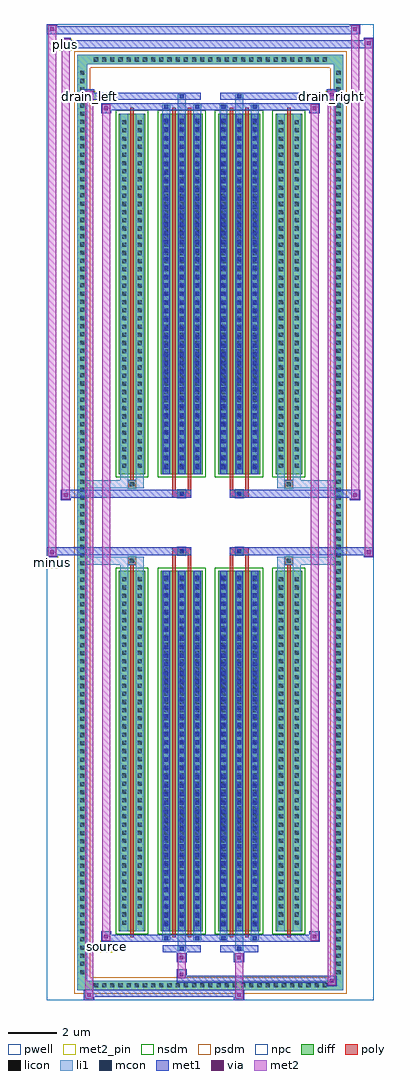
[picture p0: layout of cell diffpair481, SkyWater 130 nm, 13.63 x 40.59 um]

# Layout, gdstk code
import gdstk
lib = gdstk.Library(unit=1e-6, precision=5e-09)
def R(c, l, rs):  # rectangles x0, y0, x1, y1
    for r in rs: c.add(gdstk.rectangle(r[:2], r[2:], *l))
def A(c, l, x, y, w, h, nx, ny, dx, dy):  # array of equal rectangles
    R(c, l, [(x+i*dx, y+j*dy, x+i*dx+w, y+j*dy+h) for i in range(nx) for j in range(ny)])
def P(c, l, *ps):  # polygons
    for p in ps: c.add(gdstk.Polygon(p, *l))
pwell = (64, 44)
diff = (65, 20)
poly = (66, 20)
licon = (66, 44)
li1 = (67, 20)
mcon = (67, 44)
met1 = (68, 20)
via = (68, 44)
met2_pin = (69, 16)
met2 = (69, 20)
nsdm = (93, 44)
psdm = (94, 20)
npc = (95, 20)

diffpair481 = lib.new_cell('diffpair481')
R(diffpair481, pwell, [(-6.8,-19.86,6.8,20.73), (-4.12,-18.05,-0.01,-0.825), (0.01,-18.05,4.12,-0.825), (-4.12,0.825,-0.01,18.05), (0.01,0.825,4.12,18.05)])
A(diffpair481, diff, -4.965, -19.46, 0.41, 0.41, 29, 2, 0.34, 38.51)
A(diffpair481, diff, -5.53, -18.905, 0.41, 0.41, 1, 111, 0, 0.34)
A(diffpair481, diff, 5.12, -18.905, 0.41, 0.41, 1, 111, 0, 0.34)
R(diffpair481, diff, [(-4.965,-19.46,4.965,-19.05), (-5.53,-18.905,-5.12,18.905), (5.12,-18.905,5.53,18.905), (-3.81,-17.005,-2.71,-2.005), (-2.07,-17.005,-0.32,-2.005), (0.32,-17.005,2.07,-2.005), (2.71,-17.005,3.81,-2.005), (-3.81,2.005,-2.71,17.005), (-2.07,2.005,-0.32,17.005), (0.32,2.005,2.07,17.005), (2.71,2.005,3.81,17.005), (-4.965,19.05,4.965,19.46)])
P(diffpair481, diff, [(5.53,19.46),(-5.53,19.46),(-5.53,-19.05),(-5.12,-19.05),(-5.12,19.05),(5.12,19.05),(5.12,-19.05),(-5.12,-19.05),(-5.53,-19.05),(-5.53,-19.46),(5.53,-19.46)])
R(diffpair481, poly, [(-3.335,-17.255,-3.185,-1.755), (-1.595,-17.255,-1.445,-1.755), (-0.945,-17.255,-0.795,-1.755), (0.795,-17.255,0.945,-1.755), (1.445,-17.255,1.595,-1.755), (3.185,-17.255,3.335,-1.755), (-3.425,-1.755,-3.095,-1.425), (-3.425,-1.755,-3.095,-1.425), (-1.595,-1.755,-1.445,-1.355), (-0.945,-1.755,-0.795,-1.355), (0.795,-1.755,0.945,-1.355), (1.445,-1.755,1.595,-1.355), (3.095,-1.755,3.425,-1.425), (3.095,-1.755,3.425,-1.425), (-1.595,-1.355,-0.795,-1.025), (-1.36,-1.355,-1.03,-1.025), (0.795,-1.355,1.595,-1.025), (1.03,-1.355,1.36,-1.025), (-1.595,1.025,-0.795,1.355), (-1.36,1.025,-1.03,1.355), (0.795,1.025,1.595,1.355), (1.03,1.025,1.36,1.355), (-1.595,1.355,-1.445,1.755), (-0.945,1.355,-0.795,1.755), (0.795,1.355,0.945,1.755), (1.445,1.355,1.595,1.755), (-3.425,1.425,-3.095,1.755), (-3.425,1.425,-3.095,1.755), (3.095,1.425,3.425,1.755), (3.095,1.425,3.425,1.755), (-3.335,1.755,-3.185,17.255), (-1.595,1.755,-1.445,17.255), (-0.945,1.755,-0.795,17.255), (0.795,1.755,0.945,17.255), (1.445,1.755,1.595,17.255), (3.185,1.755,3.335,17.255)])
A(diffpair481, licon, -4.845, -19.34, 0.17, 0.17, 29, 2, 0.34, 38.51)
A(diffpair481, licon, -5.41, -18.785, 0.17, 0.17, 1, 111, 0, 0.34)
A(diffpair481, licon, 5.24, -18.785, 0.17, 0.17, 1, 111, 0, 0.34)
A(diffpair481, licon, -3.67, -16.73, 0.17, 0.17, 1, 43, 0, 0.34)
A(diffpair481, licon, -3.02, -16.73, 0.17, 0.17, 1, 43, 0, 0.34)
A(diffpair481, licon, -1.93, -16.73, 0.17, 0.17, 3, 43, 0.65, 0.34)
A(diffpair481, licon, 0.46, -16.73, 0.17, 0.17, 3, 43, 0.65, 0.34)
A(diffpair481, licon, 2.85, -16.73, 0.17, 0.17, 1, 43, 0, 0.34)
A(diffpair481, licon, 3.5, -16.73, 0.17, 0.17, 1, 43, 0, 0.34)
A(diffpair481, licon, -3.67, 2.28, 0.17, 0.17, 1, 43, 0, 0.34)
A(diffpair481, licon, -3.02, 2.28, 0.17, 0.17, 1, 43, 0, 0.34)
A(diffpair481, licon, -1.93, 2.28, 0.17, 0.17, 3, 43, 0.65, 0.34)
A(diffpair481, licon, 0.46, 2.28, 0.17, 0.17, 3, 43, 0.65, 0.34)
A(diffpair481, licon, 2.85, 2.28, 0.17, 0.17, 1, 43, 0, 0.34)
A(diffpair481, licon, 3.5, 2.28, 0.17, 0.17, 1, 43, 0, 0.34)
R(diffpair481, licon, [(-3.345,-1.675,-3.175,-1.505), (3.175,-1.675,3.345,-1.505), (-1.28,-1.275,-1.11,-1.105), (1.11,-1.275,1.28,-1.105), (-1.28,1.105,-1.11,1.275), (1.11,1.105,1.28,1.275), (-3.345,1.505,-3.175,1.675), (3.175,1.505,3.345,1.675)])
A(diffpair481, li1, -4.925, -19.42, 0.33, 0.33, 29, 2, 0.34, 38.51)
A(diffpair481, li1, -5.49, -18.865, 0.33, 0.33, 1, 111, 0, 0.34)
A(diffpair481, li1, 5.16, -18.865, 0.33, 0.33, 1, 111, 0, 0.34)
A(diffpair481, li1, -2.01, -17.005, 0.33, 15, 3, 2, 0.65, 19.01)
A(diffpair481, li1, 0.38, -17.005, 0.33, 15, 3, 2, 0.65, 19.01)
A(diffpair481, li1, -3.75, -16.81, 0.33, 0.33, 1, 43, 0, 0.34)
A(diffpair481, li1, -3.1, -16.81, 0.33, 0.33, 1, 43, 0, 0.34)
A(diffpair481, li1, -2.01, -16.81, 0.33, 0.33, 3, 43, 0.65, 0.34)
A(diffpair481, li1, 0.38, -16.81, 0.33, 0.33, 3, 43, 0.65, 0.34)
A(diffpair481, li1, 2.77, -16.81, 0.33, 0.33, 1, 43, 0, 0.34)
A(diffpair481, li1, 3.42, -16.81, 0.33, 0.33, 1, 43, 0, 0.34)
A(diffpair481, li1, -1.93, -16.79, 0.17, 0.17, 3, 41, 0.65, 0.36)
A(diffpair481, li1, -1.93, -16.79, 0.17, 14.57, 3, 2, 0.65, 19.01)
A(diffpair481, li1, 0.46, -16.79, 0.17, 0.17, 3, 41, 0.65, 0.36)
A(diffpair481, li1, 0.46, -16.79, 0.17, 14.57, 3, 2, 0.65, 19.01)
A(diffpair481, li1, -3.75, 2.2, 0.33, 0.33, 1, 43, 0, 0.34)
A(diffpair481, li1, -3.1, 2.2, 0.33, 0.33, 1, 43, 0, 0.34)
A(diffpair481, li1, -2.01, 2.2, 0.33, 0.33, 3, 43, 0.65, 0.34)
A(diffpair481, li1, 0.38, 2.2, 0.33, 0.33, 3, 43, 0.65, 0.34)
A(diffpair481, li1, 2.77, 2.2, 0.33, 0.33, 1, 43, 0, 0.34)
A(diffpair481, li1, 3.42, 2.2, 0.33, 0.33, 1, 43, 0, 0.34)
A(diffpair481, li1, -1.93, 2.22, 0.17, 0.17, 3, 41, 0.65, 0.36)
A(diffpair481, li1, 0.46, 2.22, 0.17, 0.17, 3, 41, 0.65, 0.36)
R(diffpair481, li1, [(-5.53,-19.46,-5.12,-19.05), (-5.53,-19.46,-5.12,-19.05), (-5.12,-19.46,5.12,-19.05), (5.12,-19.46,5.53,-19.05), (5.12,-19.46,5.53,-19.05), (-5.53,-19.05,-5.12,19.05), (5.12,-19.05,5.53,19.05), (-1.36,-17.81,-1.03,-17.005), (-1.28,-17.81,-1.11,-17.64), (1.03,-17.81,1.36,-17.005), (1.11,-17.81,1.28,-17.64), (-2.01,-17.38,-1.68,-17.005), (-1.93,-17.38,-1.76,-17.21), (-0.71,-17.38,-0.38,-17.005), (-0.63,-17.38,-0.46,-17.21), (0.38,-17.38,0.71,-17.005), (0.46,-17.38,0.63,-17.21), (1.68,-17.38,2.01,-17.005), (1.76,-17.38,1.93,-17.21), (-3.75,-17.005,-3.42,-2.005), (-3.1,-17.005,-2.77,-2.005), (2.77,-17.005,3.1,-2.005), (3.42,-17.005,3.75,-2.005), (-3.75,-2.005,-3.42,-1.425), (-3.1,-2.005,-2.77,-1.425), (2.77,-2.005,3.1,-1.425), (3.42,-2.005,3.75,-1.425), (-5.53,-1.755,-3.425,-1.425), (-3.75,-1.755,-3.425,-1.425), (-3.425,-1.755,-3.095,-1.425), (-3.095,-1.755,-2.77,-1.425), (2.77,-1.755,3.095,-1.425), (3.095,-1.755,3.425,-1.425), (3.095,-1.755,5.53,-1.425), (3.425,-1.755,3.75,-1.425), (-1.36,-1.355,-1.03,-1.025), (1.03,-1.355,1.36,-1.025), (-1.36,1.025,-1.03,1.355), (1.03,1.025,1.36,1.355), (-5.53,1.425,-3.425,1.755), (-3.75,1.425,-3.425,1.755), (-3.75,1.425,-3.42,2.005), (-3.425,1.425,-3.095,1.755), (-3.1,1.425,-2.77,2.005), (-3.095,1.425,-2.77,1.755), (2.77,1.425,3.095,1.755), (2.77,1.425,3.1,2.005), (3.095,1.425,3.425,1.755), (3.095,1.425,5.53,1.755), (3.42,1.425,3.75,2.005), (3.425,1.425,3.75,1.755), (-3.75,2.005,-3.42,17.005), (-3.1,2.005,-2.77,17.005), (2.77,2.005,3.1,17.005), (3.42,2.005,3.75,17.005), (-2.01,17.005,-1.68,17.38), (-1.36,17.005,-1.03,17.81), (-0.71,17.005,-0.38,17.38), (0.38,17.005,0.71,17.38), (1.03,17.005,1.36,17.81), (1.68,17.005,2.01,17.38), (-1.93,17.21,-1.76,17.38), (-0.63,17.21,-0.46,17.38), (0.46,17.21,0.63,17.38), (1.76,17.21,1.93,17.38), (-1.28,17.64,-1.11,17.81), (1.11,17.64,1.28,17.81), (-5.53,19.05,-5.12,19.46), (-5.53,19.05,-5.12,19.46), (-5.12,19.05,5.12,19.46), (5.12,19.05,5.53,19.46), (5.12,19.05,5.53,19.46)])
A(diffpair481, mcon, -1.93, -16.79, 0.17, 0.17, 3, 41, 0.65, 0.36)
A(diffpair481, mcon, 0.46, -16.79, 0.17, 0.17, 3, 41, 0.65, 0.36)
A(diffpair481, mcon, -1.93, 2.22, 0.17, 0.17, 3, 41, 0.65, 0.36)
A(diffpair481, mcon, 0.46, 2.22, 0.17, 0.17, 3, 41, 0.65, 0.36)
R(diffpair481, mcon, [(-1.28,-17.81,-1.11,-17.64), (1.11,-17.81,1.28,-17.64), (-1.93,-17.38,-1.76,-17.21), (-0.63,-17.38,-0.46,-17.21), (0.46,-17.38,0.63,-17.21), (1.76,-17.38,1.93,-17.21), (-1.28,-1.275,-1.11,-1.105), (1.11,-1.275,1.28,-1.105), (-1.28,1.105,-1.11,1.275), (1.11,1.105,1.28,1.275), (-1.93,17.21,-1.76,17.38), (-0.63,17.21,-0.46,17.38), (0.46,17.21,0.63,17.38), (1.76,17.21,1.93,17.38), (-1.28,17.64,-1.11,17.81), (1.11,17.64,1.28,17.81)])
A(diffpair481, met1, -1.99, -17.005, 0.29, 15, 3, 2, 0.65, 19.01)
A(diffpair481, met1, 0.4, -17.005, 0.29, 15, 3, 2, 0.65, 19.01)
A(diffpair481, met1, -1.99, -16.85, 0.29, 0.29, 3, 41, 0.65, 0.36)
A(diffpair481, met1, 0.4, -16.85, 0.29, 0.29, 3, 41, 0.65, 0.36)
A(diffpair481, met1, -1.99, 2.16, 0.29, 0.29, 3, 41, 0.65, 0.36)
A(diffpair481, met1, 0.4, 2.16, 0.29, 0.29, 3, 41, 0.65, 0.36)
R(diffpair481, met1, [(-5.26,-19.86,-4.83,-19.43), (0.98,-19.86,1.41,-19.43), (-5.26,-19.72,1.41,-19.43), (4.83,-19.29,5.26,-18.86), (-1.41,-19.15,5.26,-18.86), (-1.41,-19.01,-0.98,-18.58), (-1.41,-18.3,-0.98,-17.87), (0.98,-18.3,1.41,-17.87), (-1.99,-17.87,-0.4,-17.58), (-1.34,-17.87,-1.05,-17.58), (0.4,-17.87,1.99,-17.58), (1.05,-17.87,1.34,-17.58), (-4.55,-17.44,-4.12,-17.01), (-4.55,-17.44,-1.99,-17.15), (-1.99,-17.44,-1.7,-17.15), (-1.99,-17.44,-0.4,-17.15), (-0.69,-17.44,-0.4,-17.15), (-0.4,-17.44,0.4,-17.15), (0.4,-17.44,0.69,-17.15), (0.4,-17.44,1.99,-17.15), (1.7,-17.44,1.99,-17.15), (1.99,-17.44,4.55,-17.15), (4.12,-17.44,4.55,-17.01), (-6.8,-1.455,-6.37,-1.025), (6.37,-1.455,6.8,-1.025), (-6.8,-1.355,-0.795,-1.025), (-1.595,-1.355,-0.795,-1.025), (0.795,-1.355,1.595,-1.025), (0.795,-1.355,6.8,-1.025), (-1.34,-1.335,-1.05,-1.045), (1.05,-1.335,1.34,-1.045), (-6.23,0.925,-5.8,1.355), (5.8,0.925,6.23,1.355), (-6.23,1.025,-1.595,1.355), (-1.595,1.025,-0.795,1.355), (0.795,1.025,1.595,1.355), (1.595,1.025,6.23,1.355), (-1.34,1.045,-1.05,1.335), (1.05,1.045,1.34,1.335), (-4.55,17.01,-4.12,17.44), (4.12,17.01,4.55,17.44), (-4.55,17.15,-1.99,17.44), (-1.99,17.15,-1.7,17.44), (-1.99,17.15,-0.4,17.44), (-0.69,17.15,-0.4,17.44), (-0.4,17.15,0.4,17.44), (0.4,17.15,0.69,17.44), (0.4,17.15,1.99,17.44), (1.7,17.15,1.99,17.44), (1.99,17.15,4.55,17.44), (-5.26,17.58,-4.83,18.01), (-5.26,17.58,-1.99,17.87), (-1.99,17.58,-0.4,17.87), (-1.34,17.58,-1.05,17.87), (0.4,17.58,1.99,17.87), (1.05,17.58,1.34,17.87), (1.99,17.58,5.26,17.87), (4.83,17.58,5.26,18.01), (-6.23,19.73,-5.8,20.16), (-6.23,19.73,-4.12,20.06), (-4.12,19.73,4.12,20.06), (4.12,19.73,6.8,20.06), (6.37,19.73,6.8,20.16), (-6.8,20.3,-6.37,20.73), (-6.8,20.3,-4.12,20.63), (-4.12,20.3,4.12,20.63), (4.12,20.3,6.23,20.63), (5.8,20.3,6.23,20.73)])
R(diffpair481, via, [(-5.12,-19.72,-4.97,-19.57), (1.12,-19.72,1.27,-19.57), (4.97,-19.15,5.12,-19), (-1.27,-18.87,-1.12,-18.72), (-1.27,-18.16,-1.12,-18.01), (1.12,-18.16,1.27,-18.01), (-4.41,-17.3,-4.26,-17.15), (4.26,-17.3,4.41,-17.15), (-6.66,-1.315,-6.51,-1.165), (6.51,-1.315,6.66,-1.165), (-6.09,1.065,-5.94,1.215), (5.94,1.065,6.09,1.215), (-4.41,17.15,-4.26,17.3), (4.26,17.15,4.41,17.3), (-5.12,17.72,-4.97,17.87), (4.97,17.72,5.12,17.87), (-6.09,19.87,-5.94,20.02), (6.51,19.87,6.66,20.02), (-6.66,20.44,-6.51,20.59), (5.94,20.44,6.09,20.59)])
R(diffpair481, met2_pin, [(-4.585,-17.89,-4.085,-17.39), (-6.835,-1.905,-6.335,-1.405), (-5.295,17.46,-4.795,17.96), (4.795,17.46,5.295,17.96), (-6.265,19.61,-5.765,20.11)])
R(diffpair481, met2, [(-5.21,-19.81,-4.88,-19.48), (-5.21,-19.81,-4.88,17.96), (1.03,-19.81,1.36,-19.48), (1.03,-19.48,1.36,-18.25), (4.88,-19.24,5.21,-18.91), (4.88,-19.24,5.21,17.96), (-1.36,-18.96,-1.03,-18.63), (-1.36,-18.63,-1.03,-18.25), (-1.36,-18.25,-1.03,-17.92), (1.03,-18.25,1.36,-17.92), (-4.5,-17.39,-4.17,-17.06), (-4.5,-17.39,-4.17,17.39), (4.17,-17.39,4.5,-17.06), (4.17,-17.39,4.5,17.39), (-6.75,-1.405,-6.42,-1.075), (-6.75,-1.405,-6.42,20.68), (6.42,-1.405,6.75,-1.075), (6.42,-1.405,6.75,20.11), (-6.18,0.975,-5.85,1.305), (-6.18,0.975,-5.85,20.11), (5.85,0.975,6.18,1.305), (5.85,0.975,6.18,20.68), (-4.5,17.06,-4.17,17.39), (4.17,17.06,4.5,17.39), (-5.21,17.63,-4.88,17.96), (4.88,17.63,5.21,17.96), (-6.18,19.78,-5.85,20.11), (6.42,19.78,6.75,20.11), (-6.75,20.35,-6.42,20.68), (5.85,20.35,6.18,20.68)])
P(diffpair481, met2, [(6.75,-1.405),(6.75,-1.405),(6.75,-1.075),(6.75,-1.075)],
  [(6.75,19.78),(6.75,19.78),(6.75,20.11),(6.75,20.11)],
  [(-6.42,-1.405),(-6.42,-1.405),(-6.42,-1.075),(-6.42,-1.075)],
  [(-6.42,20.35),(-6.42,20.35),(-6.42,20.68),(-6.42,20.68)],
  [(6.18,0.975),(6.18,0.975),(6.18,1.305),(6.18,1.305)],
  [(6.18,20.35),(6.18,20.35),(6.18,20.68),(6.18,20.68)],
  [(-5.85,0.975),(-5.85,0.975),(-5.85,1.305),(-5.85,1.305)],
  [(-5.85,19.78),(-5.85,19.78),(-5.85,20.11),(-5.85,20.11)],
  [(-4.88,-19.81),(-4.88,-19.81),(-4.88,-19.48),(-4.88,-19.48)],
  [(-4.88,17.63),(-4.88,17.63),(-4.88,17.96),(-4.88,17.96)],
  [(5.21,-19.24),(5.21,-19.24),(5.21,-18.91),(5.21,-18.91)],
  [(5.21,17.63),(5.21,17.63),(5.21,17.96),(5.21,17.96)],
  [(-4.17,-17.39),(-4.17,-17.39),(-4.17,-17.06),(-4.17,-17.06)],
  [(-4.17,17.06),(-4.17,17.06),(-4.17,17.39),(-4.17,17.39)],
  [(4.5,-17.39),(4.5,-17.39),(4.5,-17.06),(4.5,-17.06)],
  [(4.5,17.06),(4.5,17.06),(4.5,17.39),(4.5,17.39)])
R(diffpair481, nsdm, [(-3.94,-17.135,-2.58,-1.875), (-2.2,-17.135,-0.19,-1.875), (0.19,-17.135,2.2,-1.875), (2.58,-17.135,3.94,-1.875), (-3.94,1.875,-2.58,17.135), (-2.2,1.875,-0.19,17.135), (0.19,1.875,2.2,17.135), (2.58,1.875,3.94,17.135)])
P(diffpair481, psdm, [(5.66,19.59),(-5.66,19.59),(-5.66,-18.92),(-4.99,-18.92),(-4.99,18.92),(4.99,18.92),(4.99,-18.92),(-4.99,-18.92),(-5.66,-18.92),(-5.66,-19.59),(5.66,-19.59)])
R(diffpair481, npc, [(-3.445,-1.775,-3.075,-1.405), (3.075,-1.775,3.445,-1.405), (-1.38,-1.375,-1.01,-1.005), (1.01,-1.375,1.38,-1.005), (-1.38,1.005,-1.01,1.375), (1.01,1.005,1.38,1.375), (-3.445,1.405,-3.075,1.775), (3.075,1.405,3.445,1.775)])
diffpair481.add(gdstk.Label('minus', (-6.585,-1.655), layer=69, texttype=5))
diffpair481.add(gdstk.Label('drain_right', (5.045,17.71), layer=69, texttype=5))
diffpair481.add(gdstk.Label('drain_left', (-5.045,17.71), layer=69, texttype=5))
diffpair481.add(gdstk.Label('source', (-4.335,-17.64), layer=69, texttype=5))
diffpair481.add(gdstk.Label('plus', (-6.015,19.86), layer=69, texttype=5))

lib.write_gds('diffpair481.gds')
